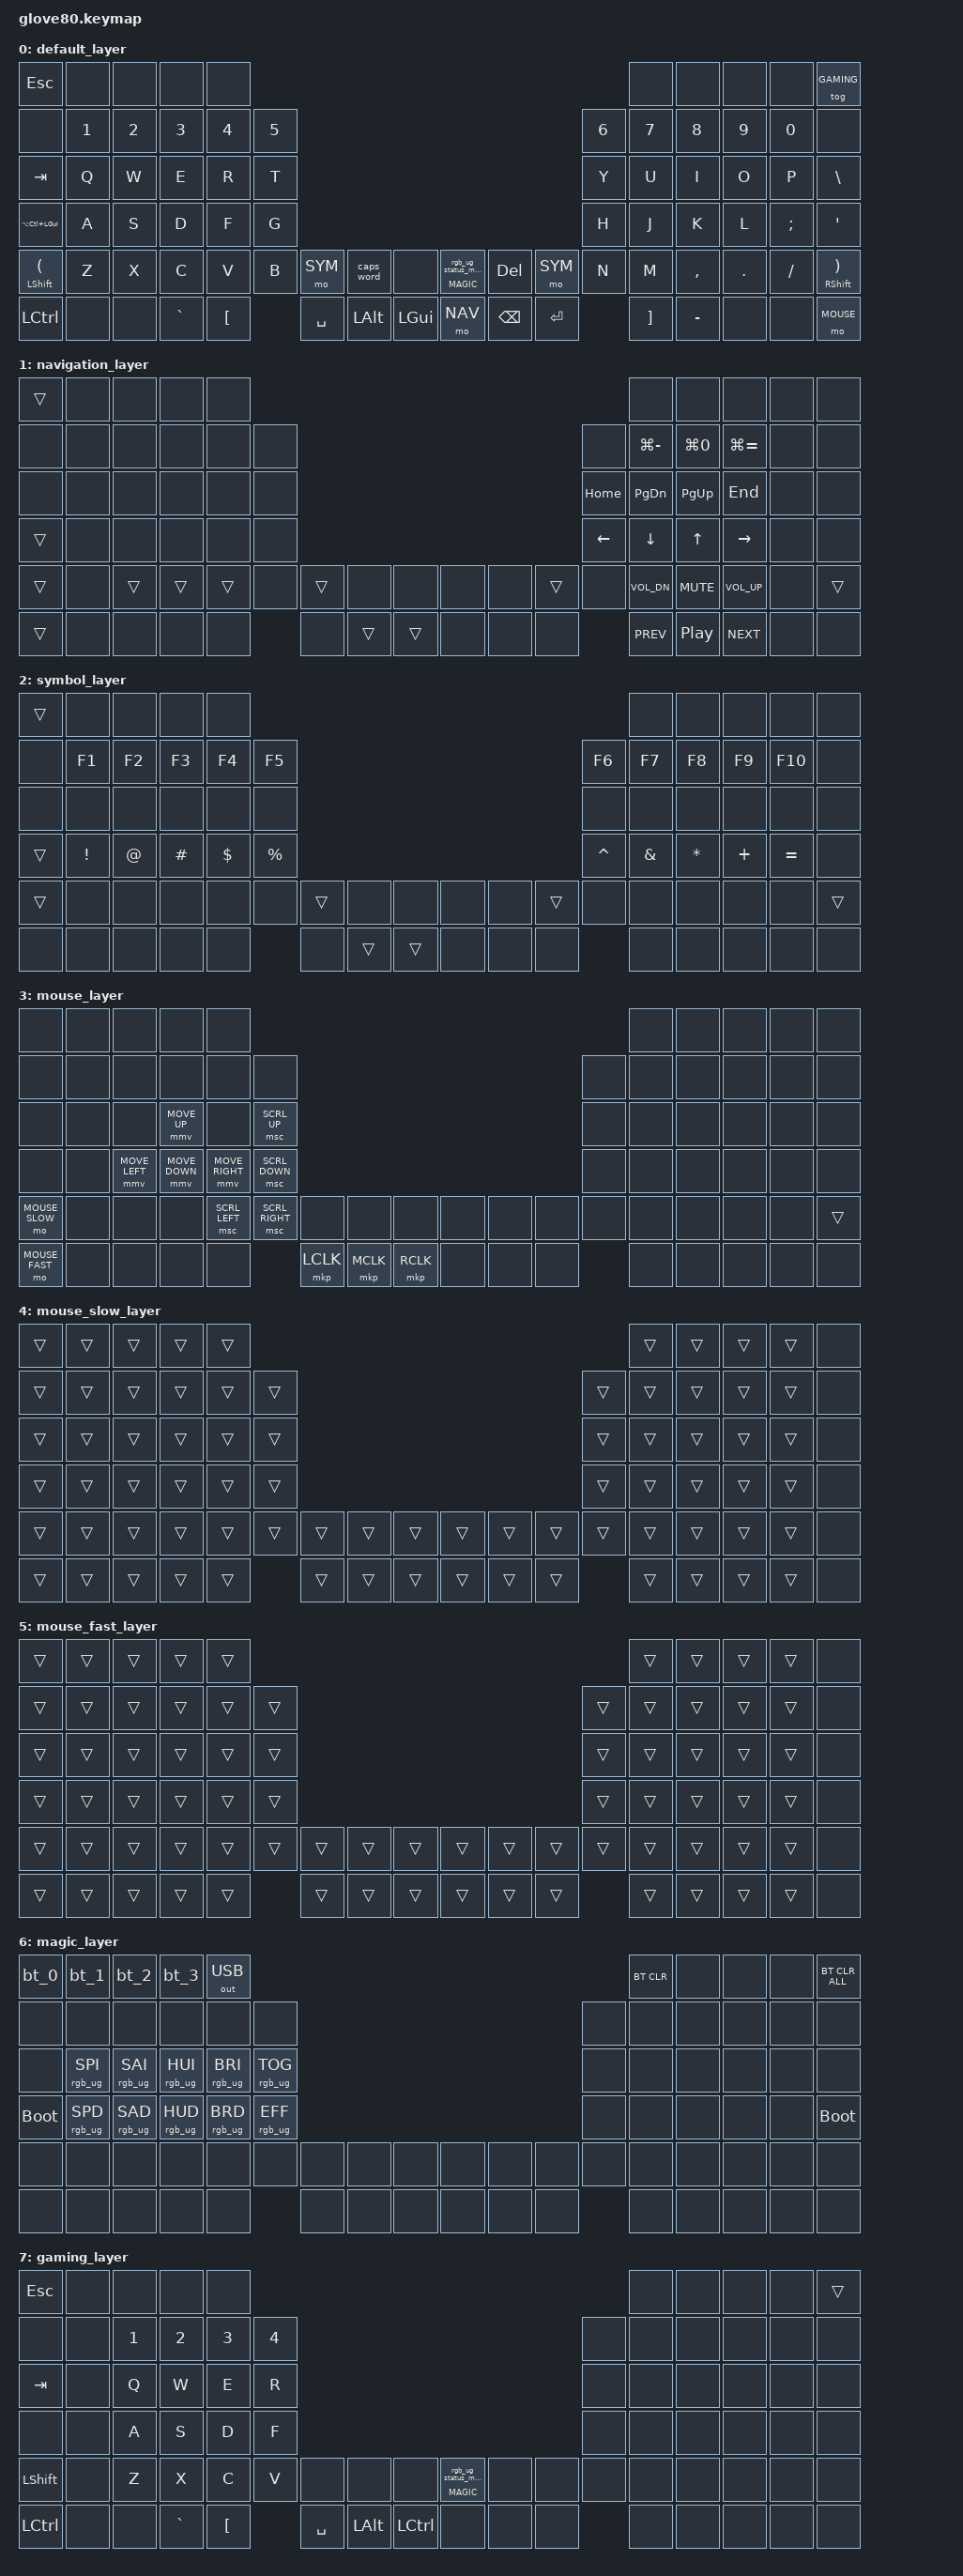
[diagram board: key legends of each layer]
/*
 * Copyright (c) 2020 The ZMK Contributors
 *
 * SPDX-License-Identifier: MIT
 */

#define ZMK_POINTING_DEFAULT_MOVE_VAL 800  // default: 600
#define ZMK_POINTING_DEFAULT_SCRL_VAL 20    // default: 10

#include <behaviors.dtsi>
#include <dt-bindings/zmk/keys.h>
#include <dt-bindings/zmk/bt.h>
#include <dt-bindings/zmk/ext_power.h>
#include <dt-bindings/zmk/mouse.h>
#include <dt-bindings/zmk/outputs.h>
#include <dt-bindings/zmk/rgb.h>
#include <input/processors.dtsi>

#define HYPER LA(LC(LGUI))

// layers
#define DEFAULT 0
#define NAV 1
#define SYM 2
#define MOUSE 3
#define MOUSE_SLOW 4
#define MOUSE_FAST 5
#define MAGIC 6
#define GAMING 7

&caps_word {
    continue-list = <BACKSPACE DELETE UNDERSCORE MINUS>;
};

&mmv {
    time-to-max-speed-ms = <0>;
    acceleration-exponent = <0>;
};

&mmv_input_listener {
    mmv_slow {
        layers = <MOUSE_SLOW>;
        input-processors = <&zip_xy_scaler 2 5>;
    };

    mmv_fast {
        layers = <MOUSE_FAST>;
        input-processors = <&zip_xy_scaler 5 2>;
    };
};

&msc {
    time-to-max-speed-ms = <0>;
    acceleration-exponent = <0>;
};

&msc_input_listener {
    msc_slow {
        layers = <MOUSE_SLOW>;
        input-processors = <&zip_scroll_scaler 1 2>;
    };

    msc_fast {
        layers = <MOUSE_FAST>;
        input-processors = <&zip_scroll_scaler 4 1>;
    };
};

/ {
    behaviors {
        magic: magic_hold_tap {
            compatible = "zmk,behavior-hold-tap";
            label = "MAGIC_HOLD_TAP";
            #binding-cells = <2>;
            flavor = "tap-preferred";
            tapping-term-ms = <200>;
            bindings = <&mo>, <&rgb_ug_status_macro>;
        };
    };

    macros {
        rgb_ug_status_macro: rgb_ug_status_macro_0 {
            label = "RGB_UG_STATUS";
            compatible = "zmk,behavior-macro";
            #binding-cells = <0>;
            bindings
                = <&rgb_ug RGB_STATUS>;
        };

        bt_0: bt_profile_macro_0 {
            label = "BT_0";
            compatible = "zmk,behavior-macro";
            #binding-cells = <0>;
            bindings
                = <&out OUT_BLE>,
                  <&bt BT_SEL 0>;
        };

        bt_1: bt_profile_macro_1 {
            label = "BT_1";
            compatible = "zmk,behavior-macro";
            #binding-cells = <0>;
            bindings
                = <&out OUT_BLE>,
                  <&bt BT_SEL 1>;
        };

        bt_2: bt_profile_macro_2 {
            label = "BT_2";
            compatible = "zmk,behavior-macro";
            #binding-cells = <0>;
            bindings
                = <&out OUT_BLE>,
                  <&bt BT_SEL 2>;
        };

        bt_3: bt_profile_macro_3 {
            label = "BT_3";
            compatible = "zmk,behavior-macro";
            #binding-cells = <0>;
            bindings
                = <&out OUT_BLE>,
                  <&bt BT_SEL 3>;
        };
    };

    keymap {
        compatible = "zmk,keymap";

        default_layer {
            bindings = <
            &kp ESC         &none    &none       &none       &none                                                                                                 &none     &none       &none       &none       &tog GAMING
            &none           &kp N1   &kp N2      &kp N3      &kp N4      &kp N5                                                                            &kp N6  &kp N7    &kp N8      &kp N9      &kp N0      &none
            &kp TAB         &kp Q    &kp W       &kp E       &kp R       &kp T                                                                             &kp Y   &kp U     &kp I       &kp O       &kp P       &kp BSLH
            &kp HYPER       &kp A    &kp S       &kp D       &kp F       &kp G                                                                             &kp H   &kp J     &kp K       &kp L       &kp SEMI    &kp SQT
            &mt LSHFT LPAR  &kp Z    &kp X       &kp C       &kp V       &kp B   &mo SYM     &caps_word &none       &magic MAGIC 0 &kp DEL   &mo SYM       &kp N   &kp M     &kp COMMA   &kp DOT     &kp FSLH    &mt RSHFT RPAR
            &kp LCTRL       &none    &none       &kp GRAVE   &kp LBKT            &kp SPACE   &kp LALT   &kp LGUI    &mo NAV        &kp BSPC  &kp ENTER             &kp RBKT  &kp MINUS   &none       &none       &mo MOUSE
            >;
        };

        navigation_layer {
            bindings = <
            &trans            &none   &none       &none       &none                                                                                         &none         &none        &none         &none       &none
            &none             &none   &none       &none       &none       &none                                                                   &none     &kp LG(MINUS) &kp LG(N0)   &kp LG(EQUAL) &none       &none
            &none             &none   &none       &none       &none       &none                                                                   &kp HOME  &kp PG_DN     &kp PG_UP    &kp END       &none       &none
            &trans            &none   &none       &none       &none       &none                                                                   &kp LEFT  &kp DOWN      &kp UP       &kp RIGHT     &none       &none
            &trans            &none   &trans      &trans      &trans      &none   &trans     &none       &none      &none     &none     &trans    &none     &kp C_VOL_DN  &kp C_MUTE   &kp C_VOL_UP  &none       &trans
            &trans            &none   &none       &none       &none               &none      &trans      &trans     &none     &none     &none               &kp C_PREV    &kp C_PP     &kp C_NEXT    &none       &none
            >;
        };

        symbol_layer {
            bindings = <
            &trans            &none    &none      &none       &none                                                                                         &none        &none         &none        &none         &none
            &none             &kp F1   &kp F2     &kp F3      &kp F4      &kp F5                                                                  &kp F6    &kp F7       &kp F8        &kp F9       &kp F10       &none
            &none             &none    &none      &none       &none       &none                                                                   &none     &none        &none         &none        &none         &none
            &trans            &kp EXCL &kp AT     &kp HASH    &kp DOLLAR  &kp PRCNT                                                               &kp CARET &kp AMPS     &kp ASTRK     &kp PLUS     &kp EQUAL     &none
            &trans            &none    &none      &none       &none       &none   &trans     &none       &none      &none     &none     &trans    &none     &none        &none         &none        &none         &trans
            &none             &none    &none      &none       &none               &none      &trans      &trans     &none     &none     &none               &none        &none         &none        &none         &none
            >;
        };

        mouse_layer {
            bindings = <
            &none             &none   &none          &none          &none                                                                                                     &none        &none         &none        &none         &none
            &none             &none   &none          &none          &none           &none                                                                           &none     &none        &none         &none        &none         &none
            &none             &none   &none          &mmv MOVE_UP   &none           &msc SCRL_UP                                                                    &none     &none        &none         &none        &none         &none
            &none             &none   &mmv MOVE_LEFT &mmv MOVE_DOWN &mmv MOVE_RIGHT &msc SCRL_DOWN                                                                  &none     &none        &none         &none        &none         &none
            &mo MOUSE_SLOW    &none   &none          &none          &msc SCRL_LEFT  &msc SCRL_RIGHT &none      &none        &none      &none     &none     &none    &none     &none        &none         &none        &none         &trans
            &mo MOUSE_FAST    &none   &none          &none          &none                           &mkp LCLK  &mkp MCLK    &mkp RCLK  &none     &none     &none              &none        &none         &none        &none         &none
            >;
        };

        // this layer is empty; it just exists to provide a hook for instantaneous mouse speed adjustments via input processors
        mouse_slow_layer {
            bindings = <
            &trans            &trans  &trans      &trans      &trans                                                                                         &trans       &trans        &trans       &trans        &none
            &trans            &trans  &trans      &trans      &trans      &trans                                                                   &trans    &trans       &trans        &trans       &trans        &none
            &trans            &trans  &trans      &trans      &trans      &trans                                                                   &trans    &trans       &trans        &trans       &trans        &none
            &trans            &trans  &trans      &trans      &trans      &trans                                                                   &trans    &trans       &trans        &trans       &trans        &none
            &trans            &trans  &trans      &trans      &trans      &trans  &trans     &trans       &trans     &trans    &trans    &trans    &trans    &trans       &trans        &trans       &trans        &none
            &trans            &trans  &trans      &trans      &trans              &trans     &trans       &trans     &trans    &trans    &trans              &trans       &trans        &trans       &trans        &none
            >;
        };

        // this layer is empty; it just exists to provide a hook for instantaneous mouse speed adjustments via input processors
        mouse_fast_layer {
            bindings = <
            &trans            &trans  &trans      &trans      &trans                                                                                         &trans       &trans        &trans       &trans        &none
            &trans            &trans  &trans      &trans      &trans      &trans                                                                   &trans    &trans       &trans        &trans       &trans        &none
            &trans            &trans  &trans      &trans      &trans      &trans                                                                   &trans    &trans       &trans        &trans       &trans        &none
            &trans            &trans  &trans      &trans      &trans      &trans                                                                   &trans    &trans       &trans        &trans       &trans        &none
            &trans            &trans  &trans      &trans      &trans      &trans  &trans     &trans       &trans     &trans    &trans    &trans    &trans    &trans       &trans        &trans       &trans        &none
            &trans            &trans  &trans      &trans      &trans              &trans     &trans       &trans     &trans    &trans    &trans              &trans       &trans        &trans       &trans        &none
            >;
        };

        magic_layer {
            bindings = <
            &bt_0             &bt_1               &bt_2           &bt_3           &out OUT_USB                                                                                                    &bt BT_CLR &none      &none      &none      &bt BT_CLR_ALL
            &none             &none               &none           &none           &none           &none                                                                                &none      &none      &none      &none      &none      &none
            &none             &rgb_ug RGB_SPI     &rgb_ug RGB_SAI &rgb_ug RGB_HUI &rgb_ug RGB_BRI &rgb_ug RGB_TOG                                                                      &none      &none      &none      &none      &none      &none
            &bootloader       &rgb_ug RGB_SPD     &rgb_ug RGB_SAD &rgb_ug RGB_HUD &rgb_ug RGB_BRD &rgb_ug RGB_EFF                                                                      &none      &none      &none      &none      &none      &bootloader
            &none             &none               &none           &none           &none           &none           &none     &none     &none            &none     &none     &none       &none      &none      &none      &none      &none      &none
            &none             &none               &none           &none           &none                           &none     &none     &none            &none     &none     &none                  &none      &none      &none      &none      &none
            >;
        };

        // This layer is a close derivative of the base layer, except it:
        //
        // - shifts the letter keys on the left hand over a column so WASD (and the surrounding
        //   letter keys) can be used while keeping the hand in the correct position.
        // - removes HYPER, because those modifiers are used for other things and I don't want to
        //   hit it by accident
        // - removes tap dances, because modifiers are sometimes tapped intentionally
        // - removes layer toggles on the left hand so avoid accidental switches
        // - replaces GUI (Windows key) with another ctrl to avoid minimizing and also nobody ever uses it
        // - removes (almost) everything on the right hand so it can't be hit by accident
        gaming_layer {
            bindings = <
            &kp ESC         &none    &none       &none       &none                                                                                               &none        &none         &none        &none         &trans
            &none           &none    &kp N1      &kp N2      &kp N3      &kp N4                                                                        &none     &none        &none         &none        &none         &none
            &kp TAB         &none    &kp Q       &kp W       &kp E       &kp R                                                                         &none     &none        &none         &none        &none         &none
            &none           &none    &kp A       &kp S       &kp D       &kp F                                                                         &none     &none        &none         &none        &none         &none
            &kp LSHFT       &none    &kp Z       &kp X       &kp C       &kp V   &none       &none      &none       &magic MAGIC 0 &none     &none     &none     &none        &none         &none        &none         &none
            &kp LCTRL       &none    &none       &kp GRAVE   &kp LBKT            &kp SPACE   &kp LALT   &kp LCTRL   &none          &none     &none               &none        &none         &none        &none         &none
            >;
        };

        // blank layer to copy-paste
        // layer {
        //     bindings = <
        //     &none             &none   &none       &none       &none                                                                                          &none        &none         &none        &none         &none
        //     &none             &none   &none       &none       &none       &none                                                                    &none     &none        &none         &none        &none         &none
        //     &none             &none   &none       &none       &none       &none                                                                    &none     &none        &none         &none        &none         &none
        //     &none             &none   &none       &none       &none       &none                                                                    &none     &none        &none         &none        &none         &none
        //     &none             &none   &none       &none       &none       &none   &none      &none        &none      &none     &none     &none     &none     &none        &none         &none        &none         &none
        //     &none             &none   &none       &none       &none               &none      &none        &none      &none     &none     &none               &none        &none         &none        &none         &none
        //     >;
        // };
    };
};
